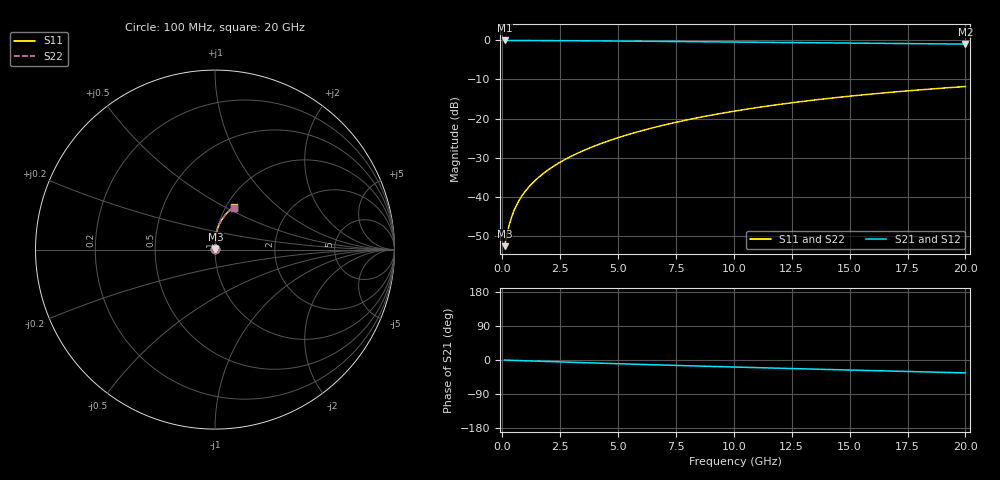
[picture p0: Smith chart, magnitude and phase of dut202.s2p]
! Touchstone file exported from HFSS 2024.1.0
!  File:  C:/UserFiles/LocalFiles/RDL_TSV_Batchsim/temp_RDL_top_202_1778687030.aedt
!  Generated:  11:46:05 PM May 13, 2026
!  Design:  RDL_top
!  Project:  temp_RDL_top_202_1778687030
!  Setup:  Setup1
!  Solution:  Sweep
! Variables:
!  dtsv = 10.80580581um
!  hbump = 3um
!  htsv = 84.38um
!  ldown = 100um
!  lrdl = 540.67um
!  p = 40
!  p1 = 41.08um
!  rhole = 1um
!  t = 450um
!  tdown = 3.915915916um
!  trdl = 4.79um
!  wdown = 15.38538539um
!  wrdl = 23.05um
# GHz S MA R 50.000000
! Terminal data exported
! Port[1] = Box2_T1
! Port[2] = Box2_T2
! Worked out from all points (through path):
!   200 points, 100 MHz to 20 GHz, reference 50 ohm
!   highest |S21| = -0.02 dB at 100 MHz (marker M1); lowest = -0.9 dB at 20 GHz (marker M2)
!   group delay of S21, straight-line fit = 4.67 ps
!   lowest |S11| = -52.7 dB at 100 MHz (marker M3), VSWR 1.00, Z = 50.2 + j0.13 ohm
!   |S11| at or under -10 dB: start of sweep to end of sweep
!   |S22| runs from -52.7 to -11.8 dB; largest |S21 - S12| = 2.8e-15
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0.1  0.002321 33.8  0.9981 -0.2  0.9981 -0.2  0.002321 33.8
! Gamma 0 0 0 0
! Port Impedance 50 0 50 0
0.2  0.003253 51.8  0.9979 -0.4  0.9979 -0.4  0.003253 51.8
0.3  0.004339 60.6  0.9977 -0.6  0.9977 -0.6  0.00434 60.6
0.4  0.005451 65.5  0.9975 -0.8  0.9975 -0.8  0.005452 65.5
0.5  0.006549 68.6  0.9974 -1.0  0.9974 -1.0  0.00655 68.6
0.6  0.007625 70.8  0.9972 -1.2  0.9972 -1.2  0.007627 70.8
0.8  0.009724 73.9  0.9969 -1.7  0.9969 -1.7  0.009726 73.9
1.1  0.01281 77.2  0.9965 -2.3  0.9965 -2.3  0.01281 77.2
1.3  0.01487 78.8  0.9961 -2.7  0.9961 -2.7  0.01487 78.8
1.6  0.01798 80.8  0.9954 -3.3  0.9954 -3.3  0.01798 80.7
2.1  0.02326 83.1  0.9941 -4.3  0.9941 -4.3  0.02326 83.0
2.7  0.02978 84.9  0.992 -5.5  0.992 -5.5  0.02978 84.8
3.5  0.03882 86.2  0.9888 -7.0  0.9888 -7.0  0.0388 86.2
4.2  0.04704 86.9  0.9855 -8.4  0.9855 -8.4  0.04702 86.8
5  0.0568 87.1  0.9813 -9.8  0.9813 -9.8  0.05677 87.0
6.8  0.08001 86.4  0.9713 -13.1  0.9713 -13.1  0.07994 86.3
8.4  0.1017 84.8  0.9619 -15.9  0.9619 -15.9  0.1016 84.8
10.1  0.1254 82.6  0.952 -18.7  0.952 -18.7  0.1252 82.5
11.7  0.1478 80.1  0.9427 -21.3  0.9427 -21.3  0.1476 80.0
13.4  0.1714 77.3  0.933 -24.0  0.933 -24.0  0.1711 77.2
16.7  0.2156 71.7  0.9146 -29.1  0.9146 -29.1  0.2153 71.6
20  0.2568 66.2  0.8965 -34.0  0.8965 -34.0  0.2564 66.1
